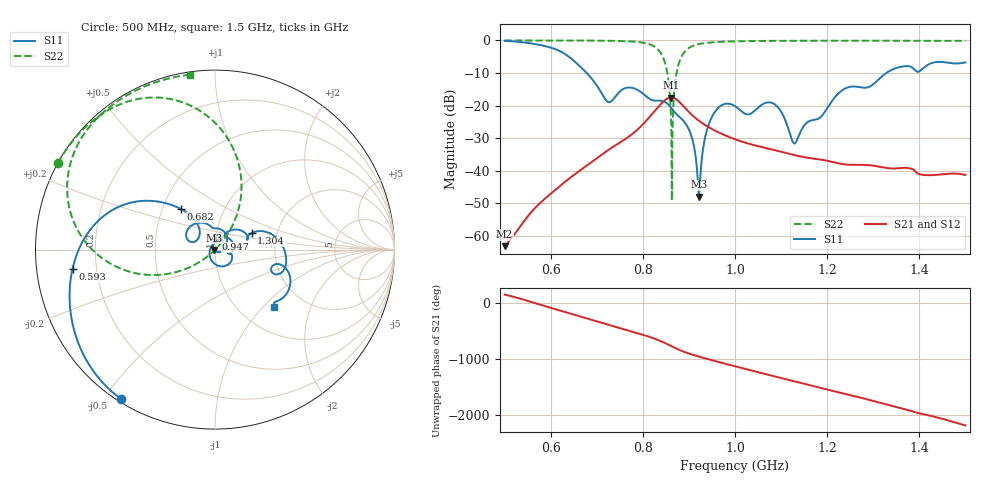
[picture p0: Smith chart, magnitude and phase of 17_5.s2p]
! TOUCHSTONE file generated by CST MICROWAVE STUDIO
! Date and time: Fri Oct  2 19:10:29 2020
! Project name: Scenario_1_Free_Space_out_of_line.cst
! Parameters = {Lambda=346.42; Step_1=17.321; dy1=70.184; dx1=866; L_HA=400; MT=2.54; Rad_Dielectric=30; Rad_Lower=7.3; Rad_Upper=30; a_HA=580; a_WG=246; b_HA=500; b_WG=121; c_HA=0; c_WG=187; d_feed=85; h_feed=15; h_lower=18; h_upper=40}
! Header version: 2018
! Port assignment regex: !\s*Touchstone port\s*([0-9]+)\s*=\s*(CST MWS port|CST DS port)\s*([0-9]+|Zmin|Zmax)\s*\(\"(.*)\"\)(\s*mode\s*([0-9]+))?.*
! Touchstone port assignment:
! Touchstone port 1 = CST MWS port 1 ("")
! Touchstone port 2 = CST MWS port 2 ("")
# GHz S DB R 50
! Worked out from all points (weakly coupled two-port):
!   1003 points, 500 MHz to 1.5 GHz, reference 50 ohm
!   highest |S21| = -17.55 dB at 861 MHz (marker M1); lowest = -63.2 dB at 500 MHz (marker M2)
!   lowest |S11| = -48.0 dB at 922 MHz (marker M3), VSWR 1.01, Z = 49.7 - j0.213 ohm
!   |S11| at or under -10 dB: 678 MHz to 1.328 GHz (650.4 MHz wide, 64.8 % of centre)
!   |S22| runs from -49.2 to 0.0 dB; largest |S21 - S12| = 2.5e-05
!   S11 on the Smith chart (normalised r, x): 500 MHz: 0.01, -0.55; 593 MHz: 0.11, -0.07; 682 MHz: 0.62, +0.31; 947 MHz: 1.01, +0.12; 1.304 GHz: 1.48, +0.29; 1.5 GHz: 1.44, -1.16
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0.5  -0.15 -122.3  -63.24 143.0  -63.24 143.0  -0.01 151.1
0.593  -1.93 -172.3  -47.97 -76.4  -47.98 -76.4  -0.02 144.7
0.667  -8.44 136.8  -39.63 106.7  -39.63 106.7  -0.04 138.4
0.682  -10.60 130.0  -38.11 71.2  -38.11 71.2  -0.05 136.9
0.725  -18.95 143.7  -33.68 -32.3  -33.68 -32.3  -0.11 131.7
0.77  -14.47 140.9  -29.51 -140.5  -29.51 -140.5  -0.28 123.6
0.834  -18.51 85.5  -20.30 50.3  -20.30 50.3  -2.98 90.3
0.852  -19.28 58.0  -17.96 -15.1  -17.96 -15.1  -9.17 65.1
0.861  -20.63 43.1  -17.55 -51.4  -17.55 -51.4  -23.15 48.0
0.866  -21.54 36.5  -17.64 -71.7  -17.64 -71.7  -20.40 -140.4
0.87  -22.22 32.0  -17.89 -87.7  -17.89 -87.7  -13.06 -148.3
0.881  -23.71 19.3  -19.15 -128.4  -19.15 -128.4  -5.88 -166.6
0.905  -29.23 -23.2  -22.68 160.3  -22.69 160.3  -1.89 168.6
0.922  -48.05 -147.2  -24.73 118.3  -24.73 118.3  -1.11 159.3
0.947  -24.38 83.3  -26.99 61.0  -26.99 61.0  -0.63 150.9
1  -20.20 -7.4  -30.38 -53.6  -30.38 -53.6  -0.28 140.8
1.085  -19.54 -61.3  -33.67 128.7  -33.67 128.8  -0.14 131.4
1.129  -31.69 152.7  -35.25 37.8  -35.25 37.8  -0.11 127.5
1.167  -24.54 47.5  -36.24 -38.7  -36.24 -38.7  -0.10 124.4
1.304  -13.00 24.2  -38.58 40.2  -38.58 40.2  -0.09 113.9
1.334  -9.49 13.6  -39.29 -23.1  -39.29 -23.1  -0.09 111.7
1.5  -6.76 -43.8  -41.36 -26.5  -41.35 -26.4  -0.14 98.2
